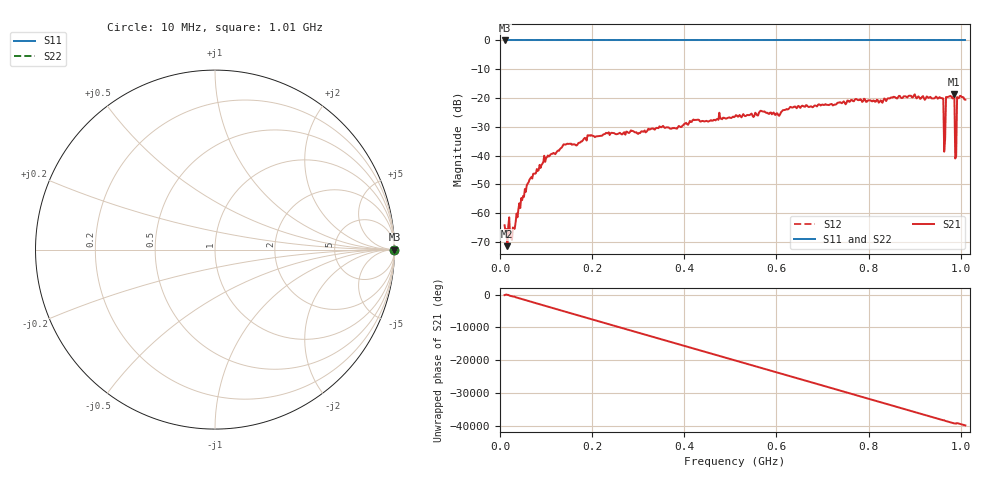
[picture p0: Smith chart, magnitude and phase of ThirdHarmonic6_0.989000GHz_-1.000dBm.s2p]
! 8/16/2025 7:48:15 AM
! C:\ANRITSUVNA\TEMP\TEMP.S2P
! CHANNEL.1
! TR.MEASUREMENT
! RAW.DATA
! RF.CORRECTION.OFF
! AVERAGING.OFF
! IF.BANDWIDTH: 5KHZ
! SWEEPTYPE:  FREQ.SWEEP(Linear)
! Reference Plane Port Info
! PORT:  PORT1  PORT2
! DISTANCE:  0  m  0  m
! TIME:  0  s  0  s
! PHASE.OFFSET:  0  deg.  0  deg.
! LOSS:  0  dB  0  dB
! REF.LOSS:  0  dB  0  dB
! REF.FREQ:  0  Hz  0  Hz
! Power Info
! POWER:  -20  dBm  -20  dBm
! EFF.POWER:  -20  dBm  -20  dBm
! SOURCE.ATTEN:  0  dB  0  dB
! TEST.ATTEN:  0  dB  0  dB
# GHZ S RI R 50.0
! FREQ.GHZ  S11RE  S11IM  S21RE  S21IM  S12RE  S12IM  S22RE  S22IM
!; PortSelection: Port_12
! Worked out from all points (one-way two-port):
!   501 points, 10 MHz to 1.01 GHz, reference 50 ohm
!   highest |S21| = -18.63 dB at 986 MHz (marker M1); lowest = -71.5 dB at 16 MHz (marker M2)
!   lowest |S11| = 0.0 dB at 10 MHz (marker M3)
!   |S11| at or under -10 dB: nowhere
!   |S22| runs from 0.0 to 0.0 dB; largest |S21 - S12| = 1.1
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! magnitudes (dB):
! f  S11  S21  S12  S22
! 10 MHz  0.0  -64.2  0.0  0.0
! 16 MHz  0.0  -71.5  0.0  0.0
! 28 MHz  0.0  -65.0  0.0  0.0
! 44 MHz  0.0  -58.3  0.0  0.0
! 62 MHz  0.0  -49.3  0.0  0.0
! 100 MHz  0.0  -40.9  0.0  0.0
! 142 MHz  0.0  -36.2  0.0  0.0
! 178 MHz  0.0  -35.1  0.0  0.0
! 194 MHz  0.0  -33.0  0.0  0.0
! 344 MHz  0.0  -30.5  0.0  0.0
! 510 MHz  0.0  -26.4  0.0  0.0
! 678 MHz  0.0  -23.2  0.0  0.0
! 844 MHz  0.0  -20.1  0.0  0.0
! 958 MHz  0.0  -20.0  0.0  0.0
! 962 MHz  0.0  -20.2  0.0  0.0
! 968 MHz  0.0  -19.6  0.0  0.0
! 972 MHz  0.0  -19.6  0.0  0.0
! 982 MHz  0.0  -20.1  0.0  0.0
! 986 MHz  0.0  -18.6  0.0  0.0
! 992 MHz  0.0  -19.7  0.0  0.0
! 996 MHz  0.0  -20.0  0.0  0.0
! 1.01 GHz  0.0  -20.6  0.0  0.0
